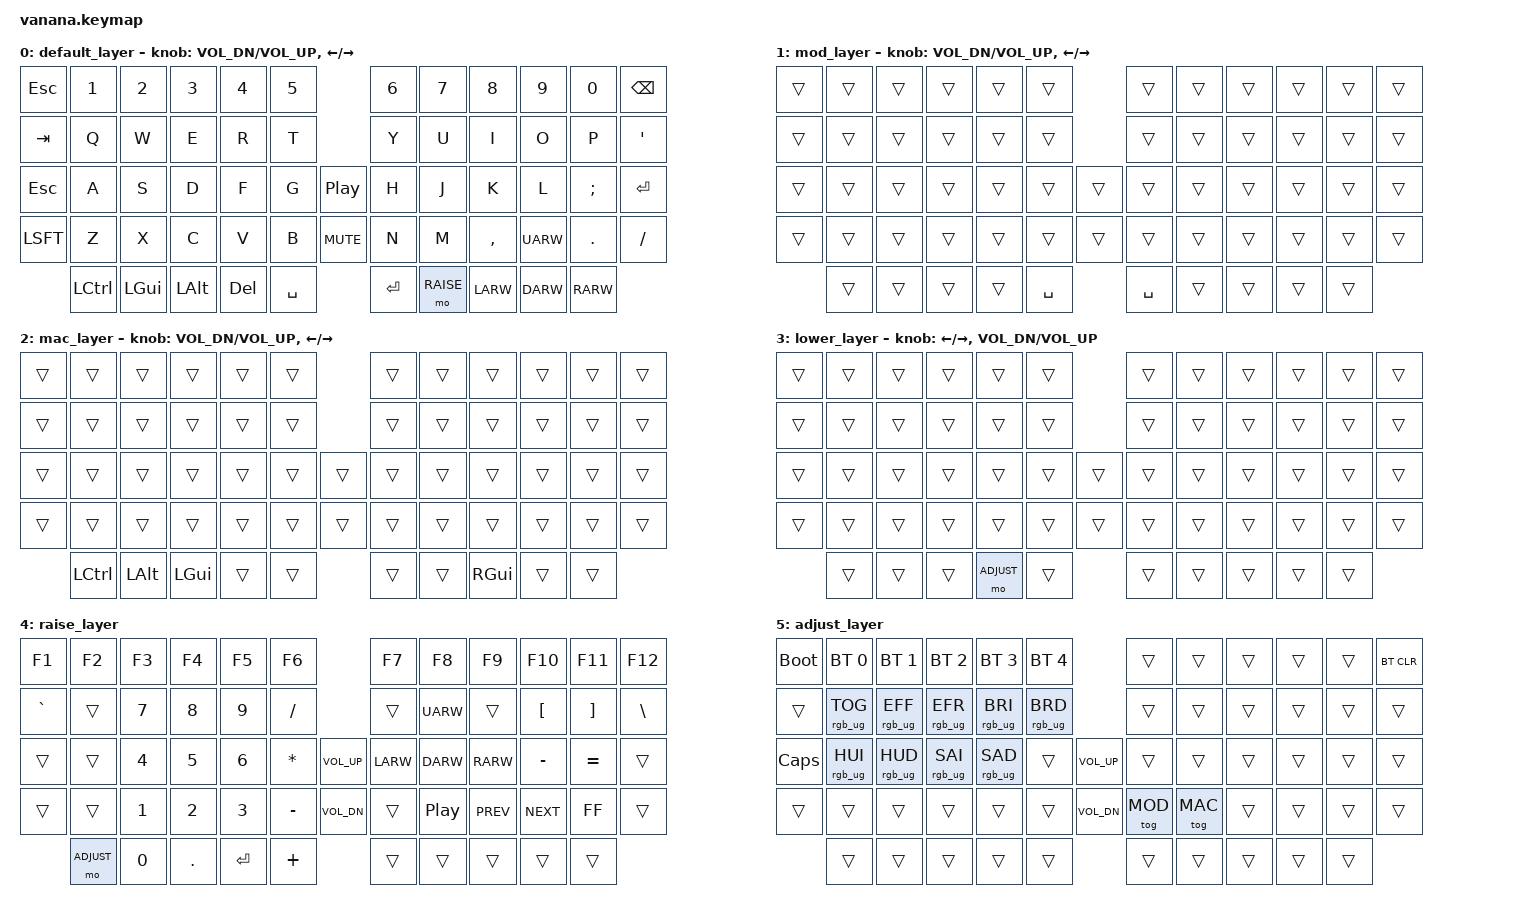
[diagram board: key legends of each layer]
/*
 * Copyright (c) 2020 dELLIKEEb
 *
 * SPDX-License-Identifier: MIT
 */

#include <behaviors.dtsi>
#include <dt-bindings/zmk/keys.h>
#include <dt-bindings/zmk/bt.h>
#include <dt-bindings/zmk/rgb.h>

// custom keycode defs for easier access
#define DEFAULT 0
#define MOD     1
#define MAC     2
#define LOWER   3
#define RAISE   4
#define ADJUST  5

// / {
//     behaviors {
//         hm: homerow_mods {
//             compatible = "zmk,behavior-hold-tap";
//             label = "homerow mods";
//             #binding-cells = <2>;
//             tapping_term_ms = <225>;
//             flavor = "tap-preferred";
//             bindings = <&kp>, <&kp>;
//         };
//     };
// };

// BASE
// -------------------------------------------               -------------------------------------------
// | Esc  |   1  |   2  |   3  |   4  |   5  |               |   6  |   7  |   8  |   9  |   0  | Bksp |
// -------------------------------------------               -------------------------------------------
// | Tab  |   Q  |   W  |   E  |   R  |   T  |               |   Y  |   U  |   I  |   O  |   P  |   '  |
// -------------------------------------------   ---------  --------------------------------------------
// | Esc  |   A  |   S  |   D  |   F  |   G  |   | Pause |   |   H  |   J  |   K  |   L  |   ;  |Enter |
// -------------------------------------------   ---------   -------------------------------------------
// | Shift|   Z  |   X  |   C  |   V  |   B  |   | Mute  |   |   N  |   M  |   ,  |  UP  |   .  |  /   |
// -------------------------------------------   ---------   -------------------------------------------
//        | Ctrl | GUI  | Alt  | Del  |Space |               |Space |Raise | LEFT | DOWN | RIGHT|
//        ------------------------------------               ------------------------------------
// 

/ {
    keymap {
        compatible = "zmk,keymap";

        default_layer {
            bindings = <
                &kp ESC     &kp N1      &kp N2      &kp N3      &kp N4    &kp N5                    &kp N6      &kp N7      &kp N8      &kp N9      &kp N0      &kp BKSP
                &kp TAB     &kp Q       &kp W       &kp E       &kp R     &kp T                     &kp Y       &kp U       &kp I       &kp O       &kp P       &kp APOS
                &kp ESC     &kp A       &kp S       &kp D       &kp F     &kp G         &kp C_PP    &kp H       &kp J       &kp K       &kp L       &kp SCLN    &kp RET
                &kp LSFT    &kp Z       &kp X       &kp C       &kp V     &kp B         &kp C_MUTE  &kp N       &kp M       &kp CMMA    &kp UARW    &kp DOT     &kp FSLH
                            &kp LCTL    &kp LGUI    &kp LALT    &kp DEL   &kp SPC                   &kp RET     &mo RAISE   &kp LARW    &kp DARW    &kp RARW
            >;
            sensor-bindings = <&inc_dec_kp C_VOL_DN C_VOL_UP &inc_dec_kp LEFT RIGHT>;
        };

        mod_layer {
            bindings = <
                &trans      &trans      &trans      &trans      &trans      &trans                  &trans      &trans      &trans      &trans      &trans      &trans  
                &trans      &trans      &trans      &trans      &trans      &trans                  &trans      &trans      &trans      &trans      &trans      &trans
                &trans      &trans      &trans      &trans      &trans      &trans      &trans      &trans      &trans      &trans      &trans      &trans      &trans
                &trans      &trans      &trans      &trans      &trans      &trans      &trans      &trans      &trans      &trans      &trans      &trans      &trans 
                            &trans      &trans      &trans      &trans      &kp SPC                 &kp SPC     &trans      &trans      &trans      &trans
            >;
            sensor-bindings = <&inc_dec_kp C_VOL_DN C_VOL_UP &inc_dec_kp LEFT RIGHT>;
        };

        mac_layer {
            bindings = <
                &trans      &trans      &trans      &trans      &trans      &trans                  &trans      &trans      &trans      &trans      &trans      &trans  
                &trans      &trans      &trans      &trans      &trans      &trans                  &trans      &trans      &trans      &trans      &trans      &trans
                &trans      &trans      &trans      &trans      &trans      &trans      &trans      &trans      &trans      &trans      &trans      &trans      &trans
                &trans      &trans      &trans      &trans      &trans      &trans      &trans      &trans      &trans      &trans      &trans      &trans      &trans 
                            &kp LCTL    &kp LALT    &kp LGUI    &trans      &trans                  &trans      &trans      &kp RGUI    &trans      &trans
            >;
            sensor-bindings = <&inc_dec_kp C_VOL_DN C_VOL_UP &inc_dec_kp LEFT RIGHT>;
        };

        lower_layer {
            bindings = <
                &trans      &trans      &trans      &trans      &trans      &trans                &trans      &trans      &trans      &trans      &trans      &trans  
                &trans      &trans      &trans      &trans      &trans      &trans                &trans      &trans      &trans      &trans      &trans      &trans
                &trans      &trans      &trans      &trans      &trans      &trans      &trans    &trans      &trans      &trans      &trans      &trans      &trans 
                &trans      &trans      &trans      &trans      &trans      &trans      &trans    &trans      &trans      &trans      &trans      &trans      &trans 
                            &trans      &trans      &trans      &mo ADJUST  &trans                &trans      &trans      &trans      &trans      &trans
            >;
            sensor-bindings = <&inc_dec_kp LEFT RIGHT &inc_dec_kp C_VOL_DN C_VOL_UP>;
        };

        raise_layer {
            bindings = <
                &kp F1      &kp F2      &kp F3      &kp F4      &kp F5      &kp F6                       &kp F7      &kp F8      &kp F9      &kp F10     &kp F11     &kp F12  
                &kp GRAV    &trans      &kp NUM_7   &kp NUM_8   &kp NUM_9   &kp FSLH                     &trans      &kp UARW    &trans      &kp LBKT    &kp RBKT    &kp BSLH
                &trans      &trans      &kp NUM_4   &kp NUM_5   &kp NUM_6   &kp STAR     &kp C_VOL_UP    &kp LARW    &kp DARW    &kp RARW    &kp MINUS   &kp EQUAL   &trans
                &trans      &trans      &kp NUM_1   &kp NUM_2   &kp NUM_3   &kp MINUS    &kp C_VOL_DN    &trans      &kp C_PP    &kp C_PREV  &kp C_NEXT  &kp C_FF    &trans
                            &mo ADJUST  &kp NUM_0   &kp DOT     &kp RET     &kp PLUS                     &trans      &trans      &trans      &trans      &trans
            >;
            
        };
        
        adjust_layer {
            bindings = <
                &bootloader &bt BT_SEL 0    &bt BT_SEL 1    &bt BT_SEL 2    &bt BT_SEL 3    &bt BT_SEL 4                    &trans      &trans      &trans      &trans      &trans      &bt BT_CLR        
                &trans      &rgb_ug RGB_TOG &rgb_ug RGB_EFF &rgb_ug RGB_EFR &rgb_ug RGB_BRI &rgb_ug RGB_BRD                 &trans      &trans      &trans      &trans      &trans      &trans
                &kp CAPS    &rgb_ug RGB_HUI &rgb_ug RGB_HUD &rgb_ug RGB_SAI &rgb_ug RGB_SAD &trans          &kp C_VOL_UP    &trans      &trans      &trans      &trans      &trans      &trans  
                &trans      &trans          &trans          &trans          &trans          &trans          &kp C_VOL_DN    &tog MOD    &tog MAC    &trans      &trans      &trans      &trans  
                            &trans          &trans          &trans          &trans          &trans                          &trans      &trans      &trans      &trans      &trans
            >;
        };
    };
};
